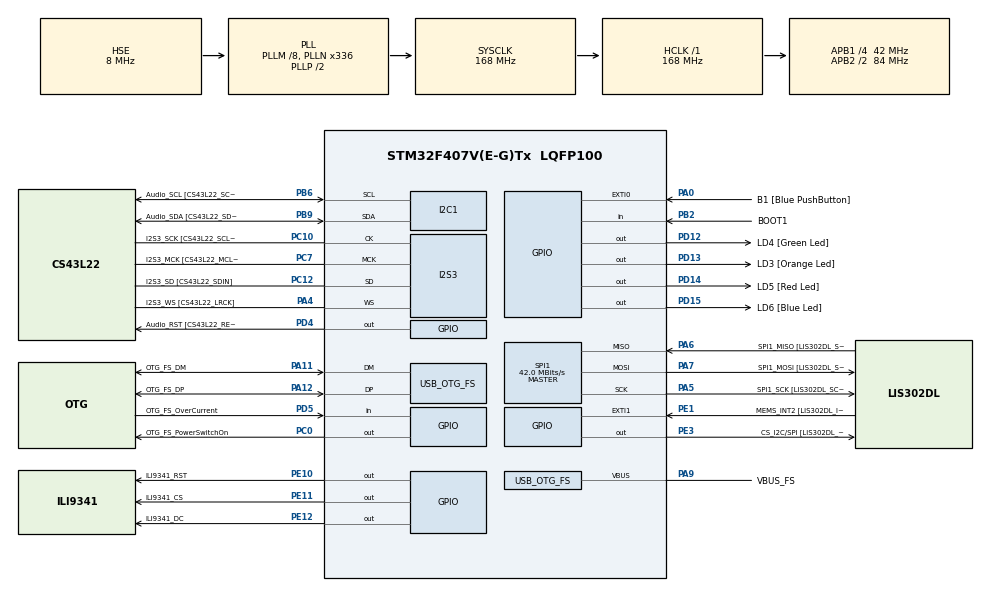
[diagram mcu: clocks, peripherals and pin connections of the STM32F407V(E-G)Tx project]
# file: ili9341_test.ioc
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I2S3.AudioFreq-Half_Duplex_Master=I2S_AUDIOFREQ_96K
I2S3.ErrorAudioFreq=-2.34 %
I2S3.ErrorAudioFreq-Half_Duplex_Master=0.8 %
I2S3.FullDuplexMode=I2S_FULLDUPLEXMODE_DISABLE
I2S3.Instance=SPI$Index
I2S3.RealAudioFreq=93.75 KHz
I2S3.RealAudioFreq-Half_Duplex_Master=96.774 KHz
I2S3.VirtualMode=I2S_MODE_MASTER
Mcu.Family=STM32F4
Mcu.Name=STM32F407V(E-G)Tx
Mcu.Package=LQFP100
NVIC.OTG_FS_IRQn=true\:0\:0\:false\:false\:true\:true\:true
NVIC.PriorityGroup=NVIC_PRIORITYGROUP_0
PA0-WKUP.GPIO_Label=B1 [Blue PushButton]
PA0-WKUP.GPIO_ModeDefaultEXTI=GPIO_MODE_EVT_RISING
PA0-WKUP.GPIO_PuPd=GPIO_NOPULL
PA0-WKUP.Signal=GPXTI0
PA10.GPIO_Label=OTG_FS_ID
PA10.GPIO_Mode=GPIO_MODE_AF_PP
PA10.GPIO_PuPd=GPIO_NOPULL
PA10.GPIO_Speed=GPIO_SPEED_FREQ_LOW
PA10.Signal=USB_OTG_FS_ID
PA11.GPIO_Label=OTG_FS_DM
PA11.GPIO_Mode=GPIO_MODE_AF_PP
PA11.GPIO_PuPd=GPIO_NOPULL
PA11.GPIO_Speed=GPIO_SPEED_FREQ_LOW
PA11.Mode=Host_Only
PA11.Signal=USB_OTG_FS_DM
PA12.GPIO_Label=OTG_FS_DP
PA12.GPIO_Mode=GPIO_MODE_AF_PP
PA12.GPIO_PuPd=GPIO_NOPULL
PA12.GPIO_Speed=GPIO_SPEED_FREQ_LOW
PA12.Mode=Host_Only
PA12.Signal=USB_OTG_FS_DP
PA13.GPIO_Label=SWDIO
PA13.Mode=Serial_Wire
PA13.Signal=SYS_JTMS-SWDIO
PA14.GPIO_Label=SWCLK
PA14.Mode=Serial_Wire
PA14.Signal=SYS_JTCK-SWCLK
PA4.GPIO_Label=I2S3_WS [CS43L22_LRCK]
PA4.GPIO_Mode=GPIO_MODE_AF_PP
PA4.GPIO_PuPd=GPIO_NOPULL
PA4.GPIO_Speed=GPIO_SPEED_FREQ_LOW
PA4.Mode=Half_Duplex_Master
PA4.Signal=I2S3_WS
PA5.GPIO_Label=SPI1_SCK [LIS302DL_SCL/SPC]
PA5.GPIO_Mode=GPIO_MODE_AF_PP
PA5.GPIO_PuPd=GPIO_NOPULL
PA5.GPIO_Speed=GPIO_SPEED_FREQ_HIGH
PA5.Mode=Full_Duplex_Master
PA5.Signal=SPI1_SCK
PA6.GPIO_Label=SPI1_MISO [LIS302DL_SDO]
PA6.GPIO_Mode=GPIO_MODE_AF_PP
PA6.GPIO_PuPd=GPIO_NOPULL
PA6.GPIO_Speed=GPIO_SPEED_FREQ_HIGH
PA6.Mode=Full_Duplex_Master
PA6.Signal=SPI1_MISO
PA7.GPIO_Label=SPI1_MOSI [LIS302DL_SDA/SDI/SDO]
PA7.GPIO_Mode=GPIO_MODE_AF_PP
PA7.GPIO_PuPd=GPIO_NOPULL
PA7.GPIO_Speed=GPIO_SPEED_FREQ_HIGH
PA7.Mode=Full_Duplex_Master
PA7.Signal=SPI1_MOSI
PA9.GPIO_Label=VBUS_FS
PA9.GPIO_Mode=GPIO_MODE_INPUT
PA9.GPIO_PuPd=GPIO_NOPULL
PA9.Mode=Activate_VBUS
PA9.Signal=USB_OTG_FS_VBUS
PB10.GPIO_Label=CLK_IN [MP45DT02_CLK]
PB10.GPIO_Mode=GPIO_MODE_AF_PP
PB10.GPIO_PuPd=GPIO_NOPULL
PB10.GPIO_Speed=GPIO_SPEED_FREQ_LOW
PB10.Signal=I2S2_CK
PB2.GPIO_Label=BOOT1
PB2.GPIO_Mode=GPIO_MODE_INPUT
PB2.GPIO_PuPd=GPIO_NOPULL
PB2.Signal=GPIO_Input
PB3.GPIO_Label=SWO
PB3.Signal=SYS_JTDO-SWO
PB6.GPIO_Label=Audio_SCL [CS43L22_SCL]
PB6.GPIO_Mode=GPIO_MODE_AF_OD
PB6.GPIO_PuPd=GPIO_NOPULL
PB6.GPIO_Speed=GPIO_SPEED_FREQ_LOW
PB6.Mode=I2C
PB6.Signal=I2C1_SCL
PB9.GPIO_Label=Audio_SDA [CS43L22_SDA]
PB9.GPIO_Mode=GPIO_MODE_AF_OD
PB9.GPIO_PuPd=GPIO_NOPULL
PB9.GPIO_Speed=GPIO_SPEED_FREQ_LOW
PB9.Mode=I2C
PB9.Signal=I2C1_SDA
PC0.GPIO_Label=OTG_FS_PowerSwitchOn
PC0.GPIO_PuPd=GPIO_NOPULL
PC0.GPIO_Speed=GPIO_SPEED_FREQ_LOW
PC0.PinState=GPIO_PIN_SET
PC0.Signal=GPIO_Output
PC10.GPIO_Label=I2S3_SCK [CS43L22_SCLK]
PC10.GPIO_Mode=GPIO_MODE_AF_PP
PC10.GPIO_PuPd=GPIO_NOPULL
PC10.GPIO_Speed=GPIO_SPEED_FREQ_LOW
PC10.Mode=Half_Duplex_Master
PC10.Signal=I2S3_CK
PC12.GPIO_Label=I2S3_SD [CS43L22_SDIN]
PC12.GPIO_Mode=GPIO_MODE_AF_PP
PC12.GPIO_PuPd=GPIO_NOPULL
PC12.GPIO_Speed=GPIO_SPEED_FREQ_LOW
PC12.Mode=Half_Duplex_Master
PC12.Signal=I2S3_SD
PC14-OSC32_IN.GPIO_Label=PC14-OSC32_IN
PC14-OSC32_IN.Mode=LSE-External-Oscillator
PC14-OSC32_IN.Signal=RCC_OSC32_IN
PC15-OSC32_OUT.GPIO_Label=PC15-OSC32_OUT
PC15-OSC32_OUT.Mode=LSE-External-Oscillator
PC15-OSC32_OUT.Signal=RCC_OSC32_OUT
PC3.GPIO_Label=PDM_OUT [MP45DT02_DOUT]
PC3.GPIO_Mode=GPIO_MODE_AF_PP
PC3.GPIO_PuPd=GPIO_NOPULL
PC3.GPIO_Speed=GPIO_SPEED_FREQ_LOW
PC3.Signal=I2S2_SD
PC7.GPIO_Label=I2S3_MCK [CS43L22_MCLK]
PC7.GPIO_Mode=GPIO_MODE_AF_PP
PC7.GPIO_PuPd=GPIO_NOPULL
PC7.GPIO_Speed=GPIO_SPEED_FREQ_LOW
PC7.Mode=Master_Clock_Activated
PC7.Signal=I2S3_MCK
PD12.GPIO_Label=LD4 [Green Led]
PD12.GPIO_PuPd=GPIO_NOPULL
PD12.GPIO_Speed=GPIO_SPEED_FREQ_LOW
PD12.Signal=GPIO_Output
PD13.GPIO_Label=LD3 [Orange Led]
PD13.GPIO_PuPd=GPIO_NOPULL
PD13.GPIO_Speed=GPIO_SPEED_FREQ_LOW
PD13.Signal=GPIO_Output
PD14.GPIO_Label=LD5 [Red Led]
PD14.GPIO_PuPd=GPIO_NOPULL
PD14.GPIO_Speed=GPIO_SPEED_FREQ_LOW
PD14.Signal=GPIO_Output
PD15.GPIO_Label=LD6 [Blue Led]
PD15.GPIO_PuPd=GPIO_NOPULL
PD15.GPIO_Speed=GPIO_SPEED_FREQ_LOW
PD15.Signal=GPIO_Output
PD4.GPIO_Label=Audio_RST [CS43L22_RESET]
PD4.GPIO_PuPd=GPIO_NOPULL
PD4.GPIO_Speed=GPIO_SPEED_FREQ_LOW
PD4.Signal=GPIO_Output
PD5.GPIO_Label=OTG_FS_OverCurrent
PD5.GPIO_Mode=GPIO_MODE_INPUT
PD5.GPIO_PuPd=GPIO_NOPULL
PD5.Signal=GPIO_Input
PE1.GPIO_Label=MEMS_INT2 [LIS302DL_INT2]
PE1.GPIO_ModeDefaultEXTI=GPIO_MODE_EVT_RISING
PE1.GPIO_PuPd=GPIO_NOPULL
PE1.Signal=GPXTI1
PE10.GPIO_Label=ILI9341_RST
PE10.GPIO_Speed=GPIO_SPEED_FREQ_HIGH
PE10.Signal=GPIO_Output
PE11.GPIO_Label=ILI9341_CS
PE11.GPIO_Speed=GPIO_SPEED_FREQ_HIGH
PE11.Signal=GPIO_Output
PE12.GPIO_Label=ILI9341_DC
PE12.GPIO_Speed=GPIO_SPEED_FREQ_HIGH
PE12.Signal=GPIO_Output
PE3.GPIO_Label=CS_I2C/SPI [LIS302DL_CS_I2C/SPI]
PE3.GPIO_PuPd=GPIO_NOPULL
PE3.GPIO_Speed=GPIO_SPEED_FREQ_LOW
PE3.Signal=GPIO_Output
PH0-OSC_IN.GPIO_Label=PH0-OSC_IN
PH0-OSC_IN.Mode=HSE-External-Oscillator
PH0-OSC_IN.Signal=RCC_OSC_IN
PH1-OSC_OUT.GPIO_Label=PH1-OSC_OUT
PH1-OSC_OUT.Mode=HSE-External-Oscillator
PH1-OSC_OUT.Signal=RCC_OSC_OUT
ProjectManager.HeapSize=0x200
ProjectManager.StackSize=0x400
ProjectManager.TargetToolchain=SW4STM32
RCC.48MHZClocksFreq_Value=48000000
RCC.AHBFreq_Value=168000000
RCC.APB1CLKDivider=RCC_HCLK_DIV4
RCC.APB1Freq_Value=42000000
RCC.APB1TimFreq_Value=84000000
RCC.APB2CLKDivider=RCC_HCLK_DIV2
RCC.APB2Freq_Value=84000000
RCC.APB2TimFreq_Value=168000000
RCC.CortexFreq_Value=168000000
RCC.HCLKFreq_Value=168000000
RCC.HSE_VALUE=8000000
RCC.HSI_VALUE=16000000
RCC.PLLM=8
RCC.PLLN=336
RCC.PLLQ=7
RCC.SYSCLKFreq_VALUE=168000000
RCC.SYSCLKSource=RCC_SYSCLKSOURCE_PLLCLK
RCC.VCOOutputFreq_Value=336000000
SPI1.BaudRatePrescaler=SPI_BAUDRATEPRESCALER_2
SPI1.BaudRatePrescaler-Full_Duplex_Master=SPI_BAUDRATEPRESCALER_2
SPI1.CalculateBaudRate=42.0 MBits/s
SPI1.CalculateBaudRate-Full_Duplex_Master=42.0 MBits/s
SPI1.Direction=SPI_DIRECTION_2LINES
SPI1.Mode=SPI_MODE_MASTER
SPI1.Mode-Full_Duplex_Master=SPI_MODE_MASTER
SPI1.VirtualType=VM_MASTER
USB_HOST.BSP.number=1
USB_HOST.USBH_HandleTypeDef-CDC_FS=hUsbHostFS
USB_HOST.VirtualModeFS=Cdc
USB_HOST0.BSP.STBoard=false
USB_HOST0.BSP.api=Unknown
USB_HOST0.BSP.i2caddr=0
USB_HOST0.BSP.i2creg=0
USB_HOST0.BSP.instance=PC0
USB_HOST0.BSP.ip=GPIO
USB_HOST0.BSP.mode=Output
USB_HOST0.BSP.name=Drive_VBUS_FS
USB_HOST0.BSP.solution=PC0
USB_OTG_FS.VirtualMode=Host_Only
USB_OTG_FS.phy_itface=HCD_PHY_EMBEDDED
VP_USB_HOST_VS_USB_HOST_CDC_FS.Mode=CDC_FS
board=STM32F4DISCOVERY

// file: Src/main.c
/* USER CODE BEGIN Header */
/**
  ******************************************************************************
  * @file           : main.c
  * @brief          : Main program body
  ******************************************************************************
  * @attention
  *
  * <h2><center>&copy; Copyright (c) 2019 STMicroelectronics.
  * All rights reserved.</center></h2>
  *
  * This software component is licensed by ST under Ultimate Liberty license
  * SLA0044, the "License"; You may not use this file except in compliance with
  * the License. You may obtain a copy of the License at:
  *                             www.st.com/SLA0044
  *
  ******************************************************************************
  */
/* USER CODE END Header */

#include "main.h"
#include "usb_host.h"

/* USER CODE BEGIN Includes */
#include <stdlib.h>
#include <stdio.h>
#include <math.h>
#include "arm_math.h"
#include "ili9341.h"
//#include "ili9341_touch.h"
#include "fonts.h"
#include "testimg.h"
/* USER CODE END Includes */

I2C_HandleTypeDef hi2c1;

I2S_HandleTypeDef hi2s3;

SPI_HandleTypeDef hspi1;

void SystemClock_Config(void);
static void MX_GPIO_Init(void);
static void MX_I2C1_Init(void);
static void MX_I2S3_Init(void);
static void MX_SPI1_Init(void);
void MX_USB_HOST_Process(void);

/* USER CODE BEGIN 0 */
void lcd_init() {
    ILI9341_Unselect();
    ILI9341_Init();
}
void lcd_loop() {
    if(HAL_SPI_DeInit(&hspi1) != HAL_OK) {
//        UART_Printf("HAL_SPI_DeInit failed!\r\n");
        return;
    }

//    hspi1.Init.BaudRatePrescaler = SPI_BAUDRATEPRESCALER_2;

    if(HAL_SPI_Init(&hspi1) != HAL_OK) {
//        UART_Printf("HAL_SPI_Init failed!\r\n");
        return;
    }

    // Check border
    ILI9341_FillScreen(ILI9341_BLACK);

//    for(int x = 0; x < ILI9341_WIDTH; x++) {
//        ILI9341_DrawPixel(x, 0, ILI9341_RED);
//        ILI9341_DrawPixel(x, ILI9341_HEIGHT-1, ILI9341_RED);
//    }
//
//    for(int y = 0; y < ILI9341_HEIGHT; y++) {
//        ILI9341_DrawPixel(0, y, ILI9341_RED);
//        ILI9341_DrawPixel(ILI9341_WIDTH-1, y, ILI9341_RED);
//    }

//    HAL_Delay(3000);

    // Check fonts
//    ILI9341_FillScreen(ILI9341_BLACK);
//    ILI9341_WriteString(0, 0, "Font_7x10, red on black, lorem ipsum dolor sit amet", Font_7x10, ILI9341_RED, ILI9341_BLACK);
//    ILI9341_WriteString(0, 3*10, "Font_11x18, green, lorem ipsum dolor sit amet", Font_11x18, ILI9341_GREEN, ILI9341_BLACK);
//    ILI9341_WriteString(0, 3*10+3*18, "Font_16x26, blue, lorem ipsum dolor sit amet", Font_16x26, ILI9341_BLUE, ILI9341_BLACK);

//    HAL_Delay(1000);
//    ILI9341_InvertColors(true);
//    HAL_Delay(1000);
//    ILI9341_InvertColors(false);

//    HAL_Delay(5000);

    // Check colors
//    ILI9341_FillScreen(ILI9341_WHITE);
//    ILI9341_WriteString(0, 0, "WHITE", Font_11x18, ILI9341_BLACK, ILI9341_WHITE);
//    HAL_Delay(500);
//
//    ILI9341_FillScreen(ILI9341_BLUE);
//    ILI9341_WriteString(0, 0, "BLUE", Font_11x18, ILI9341_BLACK, ILI9341_BLUE);
//    HAL_Delay(500);
//
//    ILI9341_FillScreen(ILI9341_RED);
//    ILI9341_WriteString(0, 0, "RED", Font_11x18, ILI9341_BLACK, ILI9341_RED);
//    HAL_Delay(500);
//
//    ILI9341_FillScreen(ILI9341_GREEN);
//    ILI9341_WriteString(0, 0, "GREEN", Font_11x18, ILI9341_BLACK, ILI9341_GREEN);
//    HAL_Delay(500);
//
//    ILI9341_FillScreen(ILI9341_CYAN);
//    ILI9341_WriteString(0, 0, "CYAN", Font_11x18, ILI9341_BLACK, ILI9341_CYAN);
//    HAL_Delay(500);
//
//    ILI9341_FillScreen(ILI9341_MAGENTA);
//    ILI9341_WriteString(0, 0, "MAGENTA", Font_11x18, ILI9341_BLACK, ILI9341_MAGENTA);
//    HAL_Delay(500);
//
//    ILI9341_FillScreen(ILI9341_YELLOW);
//    ILI9341_WriteString(0, 0, "YELLOW", Font_11x18, ILI9341_BLACK, ILI9341_YELLOW);
//    HAL_Delay(500);
//
//    ILI9341_FillScreen(ILI9341_BLACK);
//    ILI9341_WriteString(0, 0, "BLACK", Font_11x18, ILI9341_WHITE, ILI9341_BLACK);
//    HAL_Delay(500);

//    ILI9341_DrawImage((ILI9341_WIDTH - 240) / 2, (ILI9341_HEIGHT - 240) / 2, 240, 240, (const uint16_t*)test_img_240x240);
//
//    HAL_Delay(3000);

//    char str[8];
//    for(long i=0;i<2000;i++)
//    {
    /*
    	ILI9341_FillRectangle( \
    			rand()%ILI9341_WIDTH, \
				rand()%ILI9341_HEIGHT, \
				rand()%ILI9341_WIDTH, \
				rand()%ILI9341_HEIGHT, \
				ILI9341_COLOR565(rand()%255,rand()%255,rand()%255));
				*/
//    	sprintf(str,"%ld ",i);
//    	ILI9341_WriteString(0, 0, str, Font_7x10, ILI9341_RED, ILI9341_BLACK);
//    }
//    for(long i=0;i<100;i++)
//    {
    /*
    	ILI9341_DrawLine( \
    			rand()%ILI9341_WIDTH, \
				rand()%ILI9341_HEIGHT, \
				rand()%ILI9341_WIDTH, \
				rand()%ILI9341_HEIGHT, \
				ILI9341_COLOR565(rand()%255,rand()%255,rand()%255));
				*/
//    	sprintf(str,"%ld ",i);
//    	ILI9341_WriteString(0, 0, str, Font_7x10, ILI9341_RED, ILI9341_BLACK);
//    }

//    float waveform[320];
//  for(int timescale=2;timescale<16;timescale+=2)
//  {
//    for(int i=0;i<320;i++)
//    {
//    	waveform[i] = 120*sin(timescale*3.14/320*i)+120;
//    }
//    for(int x=0;x<320;x++)
//    {
//    	ILI9341_DrawPixel(x,waveform[x],ILI9341_COLOR565(255,0,0));
//    }
//  }

    int FFT_SIZE = 256;
    float Inputbuf[1024];
    arm_cfft_radix4_instance_f32 Base4fft;
    float32_t maxValue;                /* Max FFT value is stored here */
    uint32_t maxIndex;                /* Index in Output array where max value is */
    //float Inputdata[1024];
    float Outputdata[1024];
    float Fs=256.0;
  for(int c=1;c<20;c++){
	  int k = (c<10)?c:(20-c);
//	  ILI9341_FillScreen(ILI9341_BLACK);
    for(int i=0;i<FFT_SIZE;i++)
    {
       Inputbuf[2*i]=120+
      .1*120*arm_sin_f32(2*PI*k*i/Fs)+
      .3*120*arm_sin_f32(2*PI*k*4*i/Fs)+
      .5*120*arm_sin_f32(2*PI*k*8*i/Fs);
      Inputbuf[2*i+1]=0;
    }
    float old_y;
    for(int x=0;x<FFT_SIZE;x++)
    {
    	float y = 240-Inputbuf[x*2];
    	if(x == 0){
  	  ILI9341_DrawPixel(x,y,ILI9341_COLOR565(255,0,0));
    	}else{
    		ILI9341_DrawLine(x,y,x-1,old_y,ILI9341_COLOR565(0,255,0));
    	}
    	old_y = y;
    }
    for(int x=0;x<FFT_SIZE;x++)
    {
    	float y = 240-Inputbuf[x*2];
    	if(x == 0){
  	  ILI9341_DrawPixel(x,y,ILI9341_COLOR565(255,0,0));
    	}else{
    		ILI9341_DrawLine(x,y,x-1,old_y,ILI9341_COLOR565(0,0,0));
    	}
    	old_y = y;
    }
      arm_cfft_radix4_init_f32(&Base4fft,FFT_SIZE,0,1);
      arm_cfft_radix4_f32(&Base4fft,Inputbuf);
      arm_cmplx_mag_f32(Inputbuf,Outputdata,FFT_SIZE);
      arm_max_f32(Outputdata, FFT_SIZE, &maxValue, &maxIndex);

      for(int x=0;x<FFT_SIZE;x++)
      {
    	  float y = 240-Outputdata[x]*(240/maxValue);
    	if(x==0){
    	  ILI9341_DrawPixel(x,y,ILI9341_COLOR565(0,255,0));
    	}else{
    		ILI9341_DrawLine(x,y,x-1,old_y,ILI9341_COLOR565(255,0,0));
    	}
    	  old_y = y;
      }

      for(int x=0;x<FFT_SIZE;x++)
      {
    	  float y = 240-Outputdata[x]*(240/maxValue);
    	if(x==0){
    	  ILI9341_DrawPixel(x,y,ILI9341_COLOR565(0,255,0));
    	}else{
    		ILI9341_DrawLine(x,y,x-1,old_y,ILI9341_COLOR565(0,0,0));
    	}
    	  old_y = y;
      }
      HAL_Delay(100);
 }
//    HAL_Delay(6000);
//    ILI9341_FillScreen(ILI9341_BLACK);
//    ILI9341_WriteString(0, 0, "Touchpad test.  Draw something!", Font_11x18, ILI9341_WHITE, ILI9341_BLACK);
//    HAL_Delay(1000);
//    ILI9341_FillScreen(ILI9341_BLACK);

    if(HAL_SPI_DeInit(&hspi1) != HAL_OK) {
//        UART_Printf("HAL_SPI_DeInit failed!\r\n");
        return;
    }

//    hspi1.Init.BaudRatePrescaler = SPI_BAUDRATEPRESCALER_128;

    if(HAL_SPI_Init(&hspi1) != HAL_OK) {
//        UART_Printf("HAL_SPI_Init failed!\r\n");
        return;
    }

}
/* USER CODE END 0 */

int main(void)
{

  /* MCU Configuration--------------------------------------------------------*/

  /* Reset of all peripherals, Initializes the Flash interface and the Systick. */
  HAL_Init();

  /* Configure the system clock */
  SystemClock_Config();

  /* Initialize all configured peripherals */
  MX_GPIO_Init();
  MX_I2C1_Init();
  MX_I2S3_Init();
  MX_SPI1_Init();
  MX_USB_HOST_Init();
  /* USER CODE BEGIN 2 */
  /*
   * ILI9341 pin assignments
   * rst : pe10
   * cs  : pe11
   * dc  : pe12
   * mosi: pa7
   * miso: pa6
   * sck : pa5
   */
  lcd_init();
  /* USER CODE END 2 */

  /* Infinite loop */
  /* USER CODE BEGIN WHILE */
  while (1)
  {
	  HAL_GPIO_WritePin(GPIOD, LD4_Pin|LD3_Pin|LD5_Pin|LD6_Pin , GPIO_PIN_SET);
	  HAL_Delay(300);
	  HAL_GPIO_WritePin(GPIOD, LD4_Pin|LD3_Pin|LD5_Pin|LD6_Pin , GPIO_PIN_RESET);
	  HAL_Delay(300);
	  HAL_GPIO_WritePin(GPIOD, LD4_Pin|LD3_Pin|LD5_Pin|LD6_Pin , GPIO_PIN_SET);
	  HAL_Delay(300);
	  HAL_GPIO_WritePin(GPIOD, LD4_Pin|LD3_Pin|LD5_Pin|LD6_Pin , GPIO_PIN_RESET);
	  HAL_Delay(300);
	  HAL_GPIO_WritePin(GPIOD, LD4_Pin|LD3_Pin|LD5_Pin|LD6_Pin , GPIO_PIN_SET);
	  HAL_Delay(300);
	  HAL_GPIO_WritePin(GPIOD, LD4_Pin|LD3_Pin|LD5_Pin|LD6_Pin , GPIO_PIN_RESET);
	  HAL_Delay(300);

    /* USER CODE END WHILE */
    MX_USB_HOST_Process();

    /* USER CODE BEGIN 3 */
    lcd_loop();
  }
  /* USER CODE END 3 */
}

void SystemClock_Config(void)
{
  RCC_OscInitTypeDef RCC_OscInitStruct = {0};
  RCC_ClkInitTypeDef RCC_ClkInitStruct = {0};
  RCC_PeriphCLKInitTypeDef PeriphClkInitStruct = {0};

  /** Configure the main internal regulator output voltage
  */
  __HAL_RCC_PWR_CLK_ENABLE();
  __HAL_PWR_VOLTAGESCALING_CONFIG(PWR_REGULATOR_VOLTAGE_SCALE1);
  /** Initializes the CPU, AHB and APB busses clocks
  */
  RCC_OscInitStruct.OscillatorType = RCC_OSCILLATORTYPE_HSE;
  RCC_OscInitStruct.HSEState = RCC_HSE_ON;
  RCC_OscInitStruct.PLL.PLLState = RCC_PLL_ON;
  RCC_OscInitStruct.PLL.PLLSource = RCC_PLLSOURCE_HSE;
  RCC_OscInitStruct.PLL.PLLM = 8;
  RCC_OscInitStruct.PLL.PLLN = 336;
  RCC_OscInitStruct.PLL.PLLP = RCC_PLLP_DIV2;
  RCC_OscInitStruct.PLL.PLLQ = 7;
  if (HAL_RCC_OscConfig(&RCC_OscInitStruct) != HAL_OK)
  {
    Error_Handler();
  }
  /** Initializes the CPU, AHB and APB busses clocks
  */
  RCC_ClkInitStruct.ClockType = RCC_CLOCKTYPE_HCLK|RCC_CLOCKTYPE_SYSCLK
                              |RCC_CLOCKTYPE_PCLK1|RCC_CLOCKTYPE_PCLK2;
  RCC_ClkInitStruct.SYSCLKSource = RCC_SYSCLKSOURCE_PLLCLK;
  RCC_ClkInitStruct.AHBCLKDivider = RCC_SYSCLK_DIV1;
  RCC_ClkInitStruct.APB1CLKDivider = RCC_HCLK_DIV4;
  RCC_ClkInitStruct.APB2CLKDivider = RCC_HCLK_DIV2;

  if (HAL_RCC_ClockConfig(&RCC_ClkInitStruct, FLASH_LATENCY_5) != HAL_OK)
  {
    Error_Handler();
  }
  PeriphClkInitStruct.PeriphClockSelection = RCC_PERIPHCLK_I2S;
  PeriphClkInitStruct.PLLI2S.PLLI2SN = 192;
  PeriphClkInitStruct.PLLI2S.PLLI2SR = 2;
  if (HAL_RCCEx_PeriphCLKConfig(&PeriphClkInitStruct) != HAL_OK)
  {
    Error_Handler();
  }
}

static void MX_I2C1_Init(void)
{

  hi2c1.Instance = I2C1;
  hi2c1.Init.ClockSpeed = 100000;
  hi2c1.Init.DutyCycle = I2C_DUTYCYCLE_2;
  hi2c1.Init.OwnAddress1 = 0;
  hi2c1.Init.AddressingMode = I2C_ADDRESSINGMODE_7BIT;
  hi2c1.Init.DualAddressMode = I2C_DUALADDRESS_DISABLE;
  hi2c1.Init.OwnAddress2 = 0;
  hi2c1.Init.GeneralCallMode = I2C_GENERALCALL_DISABLE;
  hi2c1.Init.NoStretchMode = I2C_NOSTRETCH_DISABLE;
  if (HAL_I2C_Init(&hi2c1) != HAL_OK)
  {
    Error_Handler();
  }

}

static void MX_I2S3_Init(void)
{

  hi2s3.Instance = SPI3;
  hi2s3.Init.Mode = I2S_MODE_MASTER_TX;
  hi2s3.Init.Standard = I2S_STANDARD_PHILIPS;
  hi2s3.Init.DataFormat = I2S_DATAFORMAT_16B;
  hi2s3.Init.MCLKOutput = I2S_MCLKOUTPUT_ENABLE;
  hi2s3.Init.AudioFreq = I2S_AUDIOFREQ_96K;
  hi2s3.Init.CPOL = I2S_CPOL_LOW;
  hi2s3.Init.ClockSource = I2S_CLOCK_PLL;
  hi2s3.Init.FullDuplexMode = I2S_FULLDUPLEXMODE_DISABLE;
  if (HAL_I2S_Init(&hi2s3) != HAL_OK)
  {
    Error_Handler();
  }

}

static void MX_SPI1_Init(void)
{

  /* SPI1 parameter configuration*/
  hspi1.Instance = SPI1;
  hspi1.Init.Mode = SPI_MODE_MASTER;
  hspi1.Init.Direction = SPI_DIRECTION_2LINES;
  hspi1.Init.DataSize = SPI_DATASIZE_8BIT;
  hspi1.Init.CLKPolarity = SPI_POLARITY_LOW;
  hspi1.Init.CLKPhase = SPI_PHASE_1EDGE;
  hspi1.Init.NSS = SPI_NSS_SOFT;
  hspi1.Init.BaudRatePrescaler = SPI_BAUDRATEPRESCALER_2;
  hspi1.Init.FirstBit = SPI_FIRSTBIT_MSB;
  hspi1.Init.TIMode = SPI_TIMODE_DISABLE;
  hspi1.Init.CRCCalculation = SPI_CRCCALCULATION_DISABLE;
  hspi1.Init.CRCPolynomial = 10;
  if (HAL_SPI_Init(&hspi1) != HAL_OK)
  {
    Error_Handler();
  }

}

static void MX_GPIO_Init(void)
{
  GPIO_InitTypeDef GPIO_InitStruct = {0};

  /* GPIO Ports Clock Enable */
  __HAL_RCC_GPIOE_CLK_ENABLE();
  __HAL_RCC_GPIOC_CLK_ENABLE();
  __HAL_RCC_GPIOH_CLK_ENABLE();
  __HAL_RCC_GPIOA_CLK_ENABLE();
  __HAL_RCC_GPIOB_CLK_ENABLE();
  __HAL_RCC_GPIOD_CLK_ENABLE();

  /*Configure GPIO pin Output Level */
  HAL_GPIO_WritePin(GPIOE, CS_I2C_SPI_Pin|ILI9341_RST_Pin|ILI9341_CS_Pin|ILI9341_DC_Pin, GPIO_PIN_RESET);

  /*Configure GPIO pin Output Level */
  HAL_GPIO_WritePin(OTG_FS_PowerSwitchOn_GPIO_Port, OTG_FS_PowerSwitchOn_Pin, GPIO_PIN_SET);

  /*Configure GPIO pin Output Level */
  HAL_GPIO_WritePin(GPIOD, LD4_Pin|LD3_Pin|LD5_Pin|LD6_Pin
                          |Audio_RST_Pin, GPIO_PIN_RESET);

  /*Configure GPIO pin : CS_I2C_SPI_Pin */
  GPIO_InitStruct.Pin = CS_I2C_SPI_Pin;
  GPIO_InitStruct.Mode = GPIO_MODE_OUTPUT_PP;
  GPIO_InitStruct.Pull = GPIO_NOPULL;
  GPIO_InitStruct.Speed = GPIO_SPEED_FREQ_LOW;
  HAL_GPIO_Init(CS_I2C_SPI_GPIO_Port, &GPIO_InitStruct);

  /*Configure GPIO pin : OTG_FS_PowerSwitchOn_Pin */
  GPIO_InitStruct.Pin = OTG_FS_PowerSwitchOn_Pin;
  GPIO_InitStruct.Mode = GPIO_MODE_OUTPUT_PP;
  GPIO_InitStruct.Pull = GPIO_NOPULL;
  GPIO_InitStruct.Speed = GPIO_SPEED_FREQ_LOW;
  HAL_GPIO_Init(OTG_FS_PowerSwitchOn_GPIO_Port, &GPIO_InitStruct);

  /*Configure GPIO pin : PDM_OUT_Pin */
  GPIO_InitStruct.Pin = PDM_OUT_Pin;
  GPIO_InitStruct.Mode = GPIO_MODE_AF_PP;
  GPIO_InitStruct.Pull = GPIO_NOPULL;
  GPIO_InitStruct.Speed = GPIO_SPEED_FREQ_LOW;
  GPIO_InitStruct.Alternate = GPIO_AF5_SPI2;
  HAL_GPIO_Init(PDM_OUT_GPIO_Port, &GPIO_InitStruct);

  /*Configure GPIO pin : B1_Pin */
  GPIO_InitStruct.Pin = B1_Pin;
  GPIO_InitStruct.Mode = GPIO_MODE_EVT_RISING;
  GPIO_InitStruct.Pull = GPIO_NOPULL;
  HAL_GPIO_Init(B1_GPIO_Port, &GPIO_InitStruct);

  /*Configure GPIO pin : BOOT1_Pin */
  GPIO_InitStruct.Pin = BOOT1_Pin;
  GPIO_InitStruct.Mode = GPIO_MODE_INPUT;
  GPIO_InitStruct.Pull = GPIO_NOPULL;
  HAL_GPIO_Init(BOOT1_GPIO_Port, &GPIO_InitStruct);

  /*Configure GPIO pins : ILI9341_RST_Pin ILI9341_CS_Pin ILI9341_DC_Pin */
  GPIO_InitStruct.Pin = ILI9341_RST_Pin|ILI9341_CS_Pin|ILI9341_DC_Pin;
  GPIO_InitStruct.Mode = GPIO_MODE_OUTPUT_PP;
  GPIO_InitStruct.Pull = GPIO_NOPULL;
  GPIO_InitStruct.Speed = GPIO_SPEED_FREQ_HIGH;
  HAL_GPIO_Init(GPIOE, &GPIO_InitStruct);

  /*Configure GPIO pin : CLK_IN_Pin */
  GPIO_InitStruct.Pin = CLK_IN_Pin;
  GPIO_InitStruct.Mode = GPIO_MODE_AF_PP;
  GPIO_InitStruct.Pull = GPIO_NOPULL;
  GPIO_InitStruct.Speed = GPIO_SPEED_FREQ_LOW;
  GPIO_InitStruct.Alternate = GPIO_AF5_SPI2;
  HAL_GPIO_Init(CLK_IN_GPIO_Port, &GPIO_InitStruct);

  /*Configure GPIO pins : LD4_Pin LD3_Pin LD5_Pin LD6_Pin
                           Audio_RST_Pin */
  GPIO_InitStruct.Pin = LD4_Pin|LD3_Pin|LD5_Pin|LD6_Pin
                          |Audio_RST_Pin;
  GPIO_InitStruct.Mode = GPIO_MODE_OUTPUT_PP;
  GPIO_InitStruct.Pull = GPIO_NOPULL;
  GPIO_InitStruct.Speed = GPIO_SPEED_FREQ_LOW;
  HAL_GPIO_Init(GPIOD, &GPIO_InitStruct);

  /*Configure GPIO pin : OTG_FS_OverCurrent_Pin */
  GPIO_InitStruct.Pin = OTG_FS_OverCurrent_Pin;
  GPIO_InitStruct.Mode = GPIO_MODE_INPUT;
  GPIO_InitStruct.Pull = GPIO_NOPULL;
  HAL_GPIO_Init(OTG_FS_OverCurrent_GPIO_Port, &GPIO_InitStruct);

  /*Configure GPIO pin : MEMS_INT2_Pin */
  GPIO_InitStruct.Pin = MEMS_INT2_Pin;
  GPIO_InitStruct.Mode = GPIO_MODE_EVT_RISING;
  GPIO_InitStruct.Pull = GPIO_NOPULL;
  HAL_GPIO_Init(MEMS_INT2_GPIO_Port, &GPIO_InitStruct);

}

void Error_Handler(void)
{
}

/************************ (C) COPYRIGHT STMicroelectronics *****END OF FILE****/
